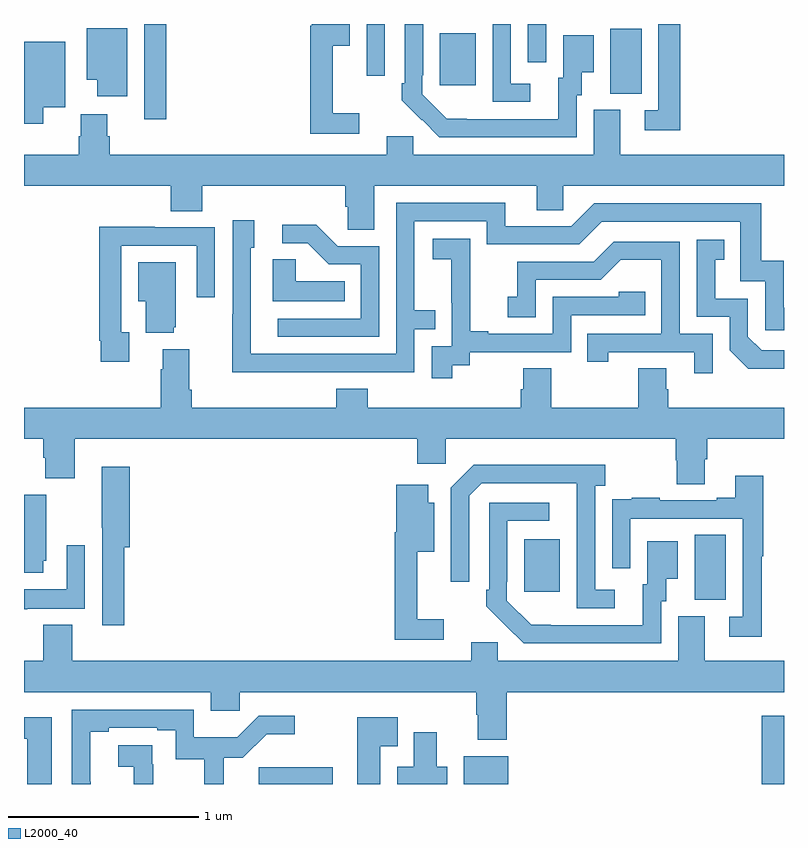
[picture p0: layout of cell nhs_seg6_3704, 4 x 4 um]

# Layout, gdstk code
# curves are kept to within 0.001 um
import gdstk
lib = gdstk.Library(unit=1e-6, precision=1e-09)
def R(c, l, rs):  # rectangles x0, y0, x1, y1
    for r in rs: c.add(gdstk.rectangle(r[:2], r[2:], *l))
def P(c, l, *ps):  # polygons
    for p in ps: c.add(gdstk.Polygon(p, *l))
L2000_40 = (2000, 40)

nhs_seg6_3704 = lib.new_cell('nhs_seg6_3704')
R(nhs_seg6_3704, L2000_40, [(328.235,965.5,328.624,965.589), (329.315,965.5,329.548,965.647), (330.882,965.5,331,965.86), (330.53,966.469,330.694,966.812), (329.633,966.513,329.821,966.787), (327.633,969,327.749,969.5), (330.086,969.133,330.25,969.476), (329.189,969.177,329.377,969.451), (328.803,969.228,328.899,969.5), (329.652,969.3,329.748,969.5)])
P(nhs_seg6_3704, L2000_40, [(330.455,969.5),(330.339,969.5),(330.339,969.045),(330.267,969.045),(330.267,968.94),(330.455,968.94)],
  [(329.665,969.186),(329.562,969.186),(329.562,969.5),(329.466,969.5),(329.466,969.09),(329.665,969.09)],
  [(328.765,969.031),(328.625,969.031),(328.625,969.386),(328.714,969.386),(328.714,969.5),(328.514,969.5),(328.514,969.49),(328.507,969.49),(328.507,968.922),(328.765,968.922)],
  [(329.91,969.126),(329.935,969.126),(329.935,969.245),(329.998,969.245),(329.998,969.442),(329.837,969.442),(329.837,969.216),(329.813,969.216),(329.813,969),(329.226,969.001),(329.097,969.129),(329.097,969.229),(329.1,969.229),(329.1,969.5),(329.004,969.5),(329.004,969.187),(328.989,969.187),(328.989,969.099),(329.186,968.904),(329.91,968.904)],
  [(327.544,969.478),(327.329,969.478),(327.329,969.206),(327.386,969.206),(327.386,969.12),(327.544,969.12)],
  [(327.1,969.062),(327.217,969.062),(327.217,969.406),(327,969.406),(327,968.976),(327.1,968.976)],
  [(328.843,968.648),(329.699,968.648),(329.699,968.521),(329.838,968.521),(329.838,968.648),(331,968.648),(331,968.812),(330.139,968.812),(330.139,969.048),(329.999,969.048),(329.999,968.812),(329.049,968.812),(329.049,968.91),(328.91,968.91),(328.91,968.812),(327.452,968.812),(327.452,968.91),(327.439,968.91),(327.439,969.025),(327.299,969.025),(327.299,968.91),(327.287,968.91),(327.287,968.812),(327,968.812),(327,968.648),(327.773,968.648),(327.773,968.515),(327.938,968.515),(327.938,968.648),(328.691,968.648),(328.691,968.539),(328.704,968.539),(328.704,968.416),(328.843,968.416)],
  [(328.559,967.668),(329.055,967.668),(329.055,967.893),(329.165,967.893),(329.165,967.994),(329.055,967.994),(329.055,968.463),(329.436,968.463),(329.436,968.34),(329.922,968.34),(330.042,968.46),(330.771,968.46),(330.771,968.145),(330.9,968.145),(330.9,967.887),(331,967.887),(331,968.007),(330.998,968.007),(330.998,968.254),(330.88,968.254),(330.88,968.556),(330,968.556),(329.88,968.436),(329.533,968.436),(329.533,968.559),(328.959,968.559),(328.959,967.764),(328.194,967.764),(328.194,968.322),(328.213,968.322),(328.213,968.467),(328.098,968.467),(328.098,967.973),(328.096,967.973),(328.096,967.667)],
  [(328.869,968.331),(328.65,968.331),(328.537,968.444),(328.359,968.444),(328.359,968.346),(328.493,968.346),(328.604,968.235),(328.773,968.235),(328.773,967.95),(328.335,967.95),(328.335,967.854),(328.869,967.854)],
  [(327.553,967.878),(327.513,967.878),(327.513,968.334),(327.909,968.334),(327.909,968.061),(328.005,968.061),(328.005,968.43),(327.689,968.43),(327.689,968.432),(327.397,968.432),(327.397,967.834),(327.405,967.834),(327.405,967.722),(327.553,967.722)],
  [(329.254,967.705),(329.346,967.705),(329.346,967.773),(329.88,967.773),(329.88,967.968),(330.269,967.968),(330.269,968.091),(330.129,968.091),(330.129,968.064),(329.784,968.064),(329.784,967.869),(329.443,967.869),(329.443,967.882),(329.348,967.882),(329.348,968.165),(329.349,968.165),(329.349,968.371),(329.151,968.371),(329.151,968.261),(329.249,968.261),(329.249,968.033),(329.25,968.033),(329.25,967.803),(329.145,967.803),(329.145,967.635),(329.254,967.635)],
  [(331,967.782),(330.882,967.782),(330.81,967.854),(330.81,968.055),(330.637,968.055),(330.637,968.259),(330.686,968.259),(330.686,968.365),(330.54,968.365),(330.54,967.959),(330.714,967.959),(330.714,967.782),(330.812,967.685),(331,967.685)],
  [(330.624,967.869),(330.45,967.869),(330.45,968.355),(330.104,968.355),(329.999,968.25),(329.596,968.25),(329.596,968.065),(329.547,968.065),(329.547,967.956),(329.694,967.956),(329.694,968.154),(330.036,968.154),(330.14,968.258),(330.354,968.258),(330.354,967.869),(329.965,967.869),(329.965,967.722),(330.076,967.722),(330.076,967.773),(330.527,967.773),(330.527,967.662),(330.624,967.662)],
  [(328.688,968.146),(328.431,968.146),(328.431,968.261),(328.31,968.261),(328.31,968.042),(328.688,968.042)],
  [(327.788,967.905),(327.799,967.905),(327.799,968.245),(327.602,968.245),(327.602,968.042),(327.641,968.042),(327.641,967.874),(327.788,967.874)],
  [(330.583,967.21),(330.596,967.21),(330.596,967.316),(331,967.316),(331,967.48),(330.392,967.48),(330.392,967.578),(330.379,967.578),(330.379,967.688),(330.232,967.688),(330.232,967.48),(329.775,967.48),(329.775,967.688),(329.627,967.688),(329.627,967.578),(329.615,967.578),(329.615,967.48),(328.808,967.48),(328.808,967.579),(328.643,967.579),(328.643,967.48),(327.884,967.48),(327.884,967.576),(327.871,967.576),(327.871,967.789),(327.731,967.789),(327.731,967.682),(327.719,967.682),(327.719,967.48),(327,967.48),(327,967.316),(327.101,967.316),(327.101,967.217),(327.113,967.217),(327.113,967.108),(327.266,967.108),(327.266,967.316),(329.069,967.316),(329.069,967.185),(329.22,967.185),(329.22,967.316),(330.431,967.316),(330.431,967.203),(330.436,967.203),(330.436,967.078),(330.583,967.078)],
  [(330.109,966.522),(330.006,966.522),(330.006,967.07),(330.058,967.07),(330.058,967.18),(329.368,967.18),(329.247,967.059),(329.247,966.564),(329.343,966.564),(329.343,967.017),(329.409,967.083),(329.909,967.083),(329.91,966.426),(330.109,966.426)],
  [(327.527,966.746),(327.557,966.746),(327.557,967.171),(327.41,967.171),(327.41,966.85),(327.411,966.85),(327.411,966.336),(327.527,966.336)],
  [(330.884,966.699),(330.892,966.699),(330.892,967.123),(330.743,967.123),(330.743,967.006),(330.647,967.006),(330.647,966.993),(330.347,966.993),(330.347,967.006),(330.199,967.006),(330.199,966.999),(330.097,966.999),(330.097,966.89),(330.096,966.89),(330.096,966.636),(330.192,966.636),(330.192,966.897),(330.783,966.897),(330.783,966.381),(330.711,966.381),(330.711,966.276),(330.884,966.276)],
  [(329.209,966.367),(329.069,966.367),(329.069,966.722),(329.158,966.722),(329.158,966.979),(329.128,966.979),(329.128,967.075),(328.958,967.075),(328.958,966.826),(328.951,966.826),(328.951,966.258),(329.209,966.258)],
  [(327.1,966.675),(327.118,966.675),(327.118,967.023),(327,967.023),(327,966.612),(327.1,966.612)],
  [(330.354,966.462),(330.379,966.462),(330.379,966.581),(330.442,966.581),(330.442,966.778),(330.281,966.778),(330.281,966.552),(330.257,966.552),(330.257,966.336),(329.67,966.337),(329.541,966.465),(329.541,966.565),(329.544,966.565),(329.544,966.885),(329.764,966.885),(329.764,966.981),(329.448,966.981),(329.448,966.523),(329.433,966.523),(329.433,966.435),(329.63,966.24),(330.354,966.24)],
  [(327.017,966.422),(327.321,966.422),(327.321,966.757),(327.225,966.757),(327.225,966.526),(327,966.526),(327,966.42),(327.017,966.42)],
  [(329.54,965.984),(331,965.984),(331,966.148),(330.583,966.148),(330.583,966.384),(330.443,966.384),(330.443,966.148),(329.493,966.148),(329.493,966.246),(329.354,966.246),(329.354,966.148),(327.253,966.148),(327.253,966.337),(327.101,966.337),(327.101,966.148),(327,966.148),(327,965.984),(327.983,965.984),(327.983,965.886),(328.135,965.886),(328.135,965.984),(329.38,965.984),(329.38,965.864),(329.387,965.864),(329.387,965.732),(329.54,965.732)],
  [(327.351,965.513),(327.349,965.513),(327.349,965.776),(327.445,965.776),(327.445,965.796),(327.701,965.796),(327.701,965.782),(327.798,965.782),(327.798,965.629),(327.949,965.629),(327.949,965.5),(328.052,965.5),(328.052,965.637),(328.151,965.637),(328.277,965.762),(328.426,965.762),(328.426,965.859),(328.236,965.859),(328.123,965.746),(327.894,965.746),(327.894,965.892),(327.252,965.892),(327.252,965.5),(327.351,965.5)],
  [(327.145,965.851),(327,965.851),(327,965.739),(327.017,965.739),(327.017,965.5),(327.145,965.5)],
  [(328.876,965.699),(328.966,965.699),(328.966,965.851),(328.754,965.851),(328.754,965.5),(328.876,965.5)],
  [(329.227,965.59),(329.173,965.59),(329.173,965.773),(329.051,965.773),(329.051,965.59),(328.964,965.59),(328.964,965.5),(329.227,965.5)],
  [(327.68,965.603),(327.674,965.603),(327.674,965.705),(327.495,965.705),(327.495,965.59),(327.577,965.59),(327.577,965.5),(327.68,965.5)])

lib.write_gds('nhs_seg6_3704.gds')
